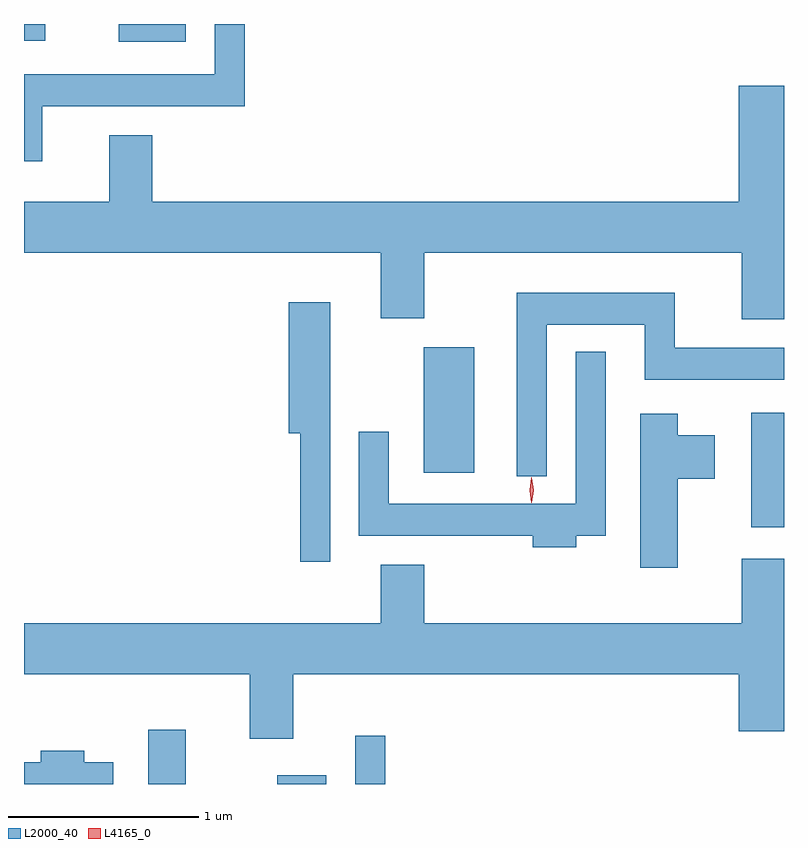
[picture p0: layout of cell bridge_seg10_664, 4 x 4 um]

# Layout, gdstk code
import gdstk
lib = gdstk.Library(unit=1e-6, precision=1e-09)
def R(c, l, rs):  # rectangles x0, y0, x1, y1
    for r in rs: c.add(gdstk.rectangle(r[:2], r[2:], *l))
def P(c, l, *ps):  # polygons
    for p in ps: c.add(gdstk.Polygon(p, *l))
L2000_40 = (2000, 40)
L4165_0 = (4165, 0)

bridge_seg10_664 = lib.new_cell('bridge_seg10_664')
R(bridge_seg10_664, L2000_40, [(951.226,2115.559,951.424,2115.844), (951.906,2115.559,952.164,2115.604), (952.316,2115.559,952.474,2115.813), (954.401,2116.911,954.573,2117.514), (952.676,2117.196,952.944,2117.859), (951.071,2119.466,951.424,2119.559), (950.573,2119.471,950.684,2119.559)])
P(bridge_seg10_664, L2000_40, [(950.669,2119.126),(951.734,2119.126),(951.734,2119.559),(951.576,2119.559),(951.576,2119.294),(950.573,2119.294),(950.573,2118.836),(950.669,2118.836)],
  [(954.573,2119.234),(954.336,2119.234),(954.336,2118.624),(951.249,2118.624),(951.249,2118.974),(951.021,2118.974),(951.021,2118.624),(950.573,2118.624),(950.573,2118.356),(952.451,2118.356),(952.451,2118.011),(952.679,2118.011),(952.679,2118.356),(954.351,2118.356),(954.351,2118.006),(954.573,2118.006)],
  [(953.324,2117.976),(953.841,2117.976),(953.841,2117.686),(954.573,2117.686),(954.573,2117.854),(953.999,2117.854),(953.999,2118.144),(953.166,2118.144),(953.166,2117.178),(953.324,2117.178)],
  [(952.184,2118.094),(951.966,2118.094),(951.966,2117.406),(952.026,2117.406),(952.026,2116.728),(952.184,2116.728)],
  [(953.479,2116.866),(953.634,2116.866),(953.634,2117.833),(953.476,2117.833),(953.476,2117.034),(952.494,2117.034),(952.494,2117.413),(952.336,2117.413),(952.336,2116.866),(953.251,2116.866),(953.251,2116.806),(953.479,2116.806)],
  [(954.014,2117.166),(954.209,2117.166),(954.209,2117.394),(954.014,2117.394),(954.014,2117.509),(953.816,2117.509),(953.816,2116.696),(954.014,2116.696)],
  [(951.989,2116.136),(954.336,2116.136),(954.336,2115.836),(954.573,2115.836),(954.573,2116.744),(954.351,2116.744),(954.351,2116.404),(952.679,2116.404),(952.679,2116.714),(952.451,2116.714),(952.451,2116.404),(950.573,2116.404),(950.573,2116.136),(951.761,2116.136),(951.761,2115.796),(951.989,2115.796)],
  [(951.044,2115.674),(950.889,2115.674),(950.889,2115.734),(950.661,2115.734),(950.661,2115.674),(950.573,2115.674),(950.573,2115.559),(951.044,2115.559)])
P(bridge_seg10_664, L4165_0, [(953.245,2117.039),(953.244,2117.04),(953.235,2117.106),(953.244,2117.172),(953.245,2117.173),(953.245,2117.172),(953.255,2117.106),(953.245,2117.04)])

lib.write_gds('bridge_seg10_664.gds')
